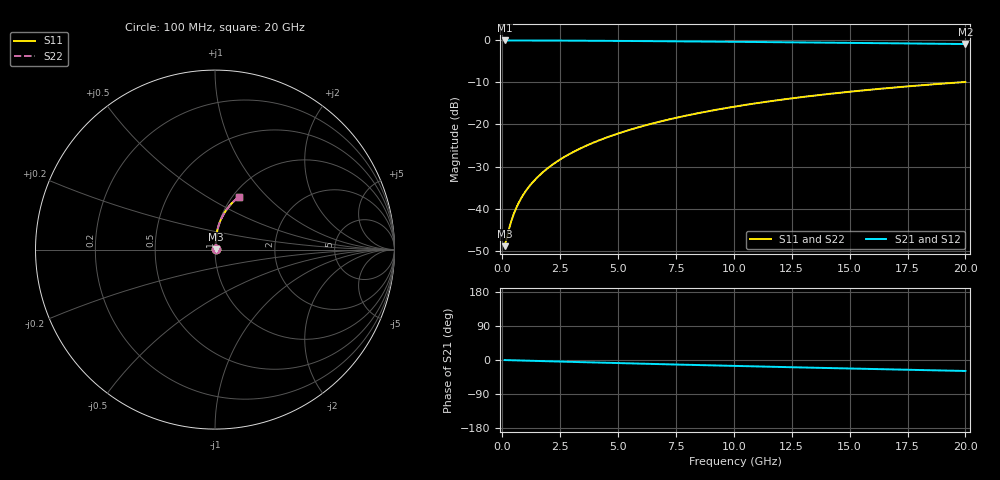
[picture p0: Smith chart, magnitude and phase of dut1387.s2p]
! Touchstone file exported from HFSS 2024.1.0
!  File:  C:/UserFiles/LocalFiles/RDL_TSV_Batchsim/temp_RDL_top_1387_1780367554.aedt
!  Generated:  10:35:05 AM Jun  2, 2026
!  Design:  RDL_top
!  Project:  temp_RDL_top_1387_1780367554
!  Setup:  Setup1
!  Solution:  Sweep
! Variables:
!  dtsv = 10.80580581um
!  hbump = 3um
!  htsv = 77.34um
!  ldown = 100um
!  lrdl = 344.08um
!  p = 40
!  p1 = 55.34um
!  rhole = 1um
!  t = 450um
!  tdown = 3.915915916um
!  trdl = 2.05um
!  wdown = 15.38538539um
!  wrdl = 20.98um
# GHz S MA R 50.000000
! Terminal data exported
! Port[1] = Box2_T1
! Port[2] = Box2_T2
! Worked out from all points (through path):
!   200 points, 100 MHz to 20 GHz, reference 50 ohm
!   highest |S21| = -0.03 dB at 100 MHz (marker M1); lowest = -0.9 dB at 20 GHz (marker M2)
!   group delay of S21, straight-line fit = 4 ps
!   lowest |S11| = -48.9 dB at 100 MHz (marker M3), VSWR 1.01, Z = 50.3 + j0.164 ohm
!   |S11| at or under -10 dB: start of sweep to 19.72 GHz
!   |S22| runs from -48.9 to -9.9 dB; largest |S21 - S12| = 5.2e-15
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0.1  0.003582 27.1  0.9968 -0.2  0.9968 -0.2  0.003582 27.1
! Gamma 0 0 0 0
! Port Impedance 50 0 50 0
0.3  0.005877 55.6  0.9966 -0.5  0.9966 -0.5  0.005877 55.6
0.4  0.007272 62.1  0.9965 -0.7  0.9965 -0.7  0.007272 62.0
0.5  0.008709 66.3  0.9964 -0.9  0.9964 -0.9  0.008709 66.3
0.6  0.01016 69.2  0.9962 -1.0  0.9962 -1.0  0.01016 69.2
0.7  0.01162 71.5  0.9961 -1.2  0.9961 -1.2  0.01162 71.5
0.9  0.01453 74.6  0.9958 -1.5  0.9958 -1.5  0.01453 74.6
1.2  0.01892 77.7  0.9953 -2.0  0.9953 -2.0  0.01892 77.7
1.4  0.02187 79.1  0.995 -2.4  0.995 -2.4  0.02187 79.1
1.7  0.02632 80.6  0.9945 -2.9  0.9945 -2.9  0.02632 80.6
2.2  0.03384 82.3  0.9935 -3.7  0.9935 -3.7  0.03384 82.3
2.8  0.04303 83.4  0.992 -4.6  0.992 -4.6  0.04303 83.4
3.5  0.05396 84.1  0.9899 -5.8  0.9899 -5.8  0.05396 84.1
4.2  0.06512 84.3  0.9876 -6.9  0.9876 -6.9  0.06512 84.3
5  0.07812 84.2  0.9845 -8.2  0.9845 -8.2  0.07811 84.2
5.9  0.09301 83.8  0.9808 -9.5  0.9808 -9.5  0.093 83.8
6.8  0.1081 83.1  0.9767 -10.9  0.9767 -10.9  0.1081 83.1
8.4  0.1353 81.5  0.9691 -13.3  0.9691 -13.3  0.1353 81.5
10.1  0.1642 79.4  0.9604 -15.7  0.9604 -15.7  0.1642 79.4
13.4  0.2193 74.9  0.9425 -20.3  0.9425 -20.3  0.2193 74.9
16.7  0.2716 70.3  0.9234 -24.7  0.9234 -24.7  0.2715 70.3
20  0.3202 65.8  0.9035 -29.0  0.9035 -29.0  0.3202 65.8
